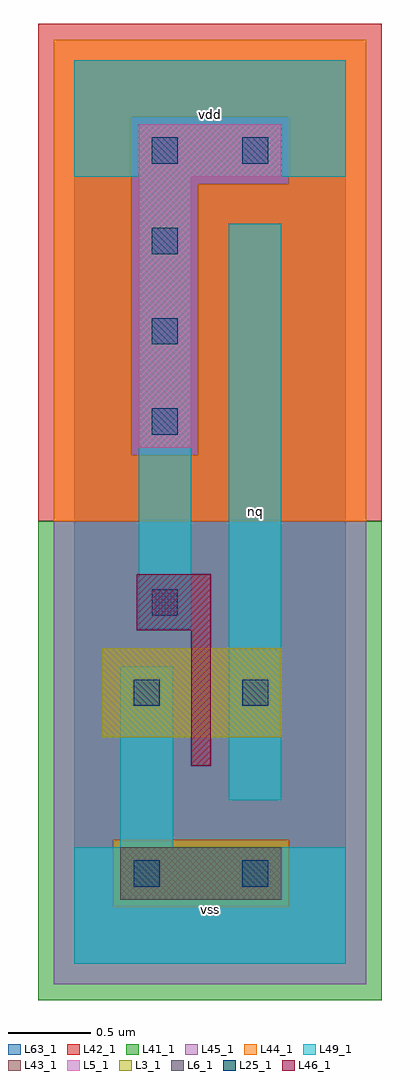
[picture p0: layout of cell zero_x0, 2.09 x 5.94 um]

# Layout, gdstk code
import gdstk
lib = gdstk.Library(unit=1e-6, precision=1e-09)
def R(c, l, rs):  # rectangles x0, y0, x1, y1
    for r in rs: c.add(gdstk.rectangle(r[:2], r[2:], *l))
def A(c, l, x, y, w, h, nx, ny, dx, dy):  # array of equal rectangles
    R(c, l, [(x+i*dx, y+j*dy, x+i*dx+w, y+j*dy+h) for i in range(nx) for j in range(ny)])
L3_1 = (3, 1)
L5_1 = (5, 1)
L6_1 = (6, 1)
L25_1 = (25, 1)
L41_1 = (41, 1)
L42_1 = (42, 1)
L43_1 = (43, 1)
L44_1 = (44, 1)
L45_1 = (45, 1)
L46_1 = (46, 1)
L49_1 = (49, 1)
L63_1 = (63, 1)

zero_x0 = lib.new_cell('zero_x0')
R(zero_x0, L3_1, [(0.17,1.38,1.26,1.92)])
R(zero_x0, L5_1, [(0.39,3.14,0.71,4.79), (0.39,4.79,1.26,5.11)])
R(zero_x0, L6_1, [(0.28,0.39,1.26,0.71)])
A(zero_x0, L25_1, 0.47, 3.22, 0.16, 0.16, 1, 4, 0, 0.55)
R(zero_x0, L25_1, [(0.36,0.47,0.52,0.63), (1.02,0.47,1.18,0.63), (0.36,1.57,0.52,1.73), (1.02,1.57,1.18,1.73), (0.47,2.12,0.63,2.28), (1.02,4.87,1.18,5.03)])
R(zero_x0, L41_1, [(-0.22,-0.22,1.87,2.695)])
R(zero_x0, L42_1, [(-0.22,2.695,1.87,5.72)])
R(zero_x0, L43_1, [(0.28,0.39,1.26,0.71), (0.17,1.38,1.26,1.92), (0.39,3.14,0.71,4.79), (0.39,4.79,1.26,5.11)])
R(zero_x0, L44_1, [(0.235,0.345,1.305,0.755), (-0.125,2.695,1.775,3.095), (-0.125,3.095,0.345,5.155), (0.755,3.095,1.775,4.745), (1.305,4.745,1.775,5.155), (-0.125,5.155,1.775,5.625)])
R(zero_x0, L45_1, [(-0.125,-0.125,1.775,0.345), (-0.125,0.345,0.235,0.755), (1.305,0.345,1.775,0.755), (-0.125,0.755,1.775,2.695), (0.345,3.095,0.755,4.745), (0.345,4.745,1.305,5.155)])
R(zero_x0, L46_1, [(0.71,1.205,0.83,2.03), (0.38,2.03,0.83,2.37)])
R(zero_x0, L49_1, [(0,0,1.65,0.71), (0.28,0.71,0.6,1.81), (0.94,0.995,1.26,4.505), (0.39,2.04,0.71,4.79), (0,4.79,1.65,5.5)])
R(zero_x0, L63_1, [(0,0,1.65,5.5)])
zero_x0.add(gdstk.Label('vss', (0.825,0.33), layer=49, texttype=1))
zero_x0.add(gdstk.Label('vss', (0.825,0.33), layer=49, texttype=1))
zero_x0.add(gdstk.Label('vdd', (0.825,5.17), layer=49, texttype=1))
zero_x0.add(gdstk.Label('vdd', (0.825,5.17), layer=49, texttype=1))
zero_x0.add(gdstk.Label('nq', (1.1,2.75), layer=49, texttype=1))
zero_x0.add(gdstk.Label('nq', (1.1,2.75), layer=49, texttype=1))

lib.write_gds('zero_x0.gds')
